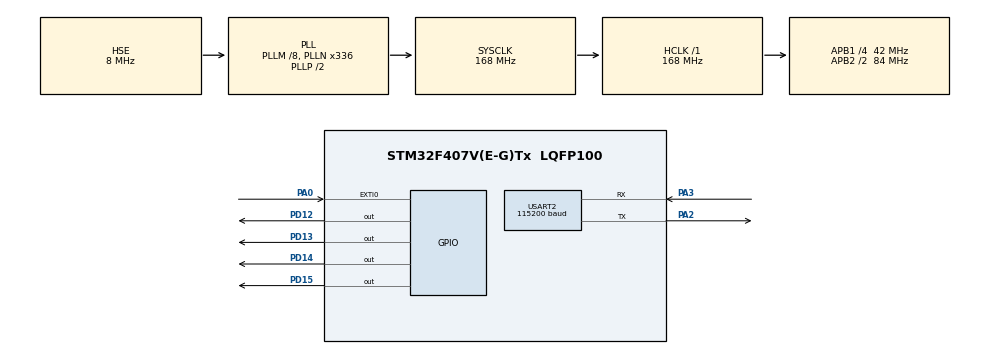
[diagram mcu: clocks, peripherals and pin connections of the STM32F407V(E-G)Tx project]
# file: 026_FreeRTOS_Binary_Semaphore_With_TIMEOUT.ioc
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FREERTOS.Tasks01=defaultTask,24,128,StartDefaultTask,Default,NULL,Dynamic,NULL,NULL
FREERTOS.configUSE_NEWLIB_REENTRANT=1
Mcu.Family=STM32F4
Mcu.Name=STM32F407V(E-G)Tx
Mcu.Package=LQFP100
NVIC.EXTI0_IRQn=true\:5\:0\:false\:false\:true\:true\:true\:true\:true
NVIC.PriorityGroup=NVIC_PRIORITYGROUP_4
NVIC.TIM8_TRG_COM_TIM14_IRQn=true\:15\:0\:false\:false\:true\:false\:false\:true\:true
NVIC.TimeBase=TIM8_TRG_COM_TIM14_IRQn
NVIC.TimeBaseIP=TIM14
NVIC.USART2_IRQn=true\:5\:0\:false\:false\:true\:true\:true\:true\:true
PA0-WKUP.Signal=GPXTI0
PA2.Mode=Asynchronous
PA2.Signal=USART2_TX
PA3.Mode=Asynchronous
PA3.Signal=USART2_RX
PD12.Signal=GPIO_Output
PD13.Signal=GPIO_Output
PD14.Signal=GPIO_Output
PD15.Signal=GPIO_Output
PH0-OSC_IN.Mode=HSE-External-Oscillator
PH0-OSC_IN.Signal=RCC_OSC_IN
PH1-OSC_OUT.Mode=HSE-External-Oscillator
PH1-OSC_OUT.Signal=RCC_OSC_OUT
ProjectManager.HeapSize=0x200
ProjectManager.StackSize=0x400
ProjectManager.TargetToolchain=STM32CubeIDE
RCC.48MHZClocksFreq_Value=48000000
RCC.AHBFreq_Value=168000000
RCC.APB1CLKDivider=RCC_HCLK_DIV4
RCC.APB1Freq_Value=42000000
RCC.APB1TimFreq_Value=84000000
RCC.APB2CLKDivider=RCC_HCLK_DIV2
RCC.APB2Freq_Value=84000000
RCC.APB2TimFreq_Value=168000000
RCC.CortexFreq_Value=168000000
RCC.HCLKFreq_Value=168000000
RCC.HSE_VALUE=8000000
RCC.HSI_VALUE=16000000
RCC.LSE_VALUE=32768
RCC.PLLM=8
RCC.PLLN=336
RCC.PLLQ=7
RCC.PLLSourceVirtual=RCC_PLLSOURCE_HSE
RCC.SYSCLKFreq_VALUE=168000000
RCC.SYSCLKSource=RCC_SYSCLKSOURCE_PLLCLK
RCC.VCOOutputFreq_Value=336000000
USART2.BaudRate=115200
USART2.VirtualMode=VM_ASYNC
VP_FREERTOS_VS_CMSIS_V2.Mode=CMSIS_V2
VP_SYS_VS_tim14.Mode=TIM14
board=STM32F407G-DISC1

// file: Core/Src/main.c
/* USER CODE BEGIN Header */
/**
  ******************************************************************************
  * @file           : main.c
  * @brief          : Main program body
  ******************************************************************************
  * @attention
  *
  * Copyright (c) 2023 STMicroelectronics.
  * All rights reserved.
  *
  * This software is licensed under terms that can be found in the LICENSE file
  * in the root directory of this software component.
  * If no LICENSE file comes with this software, it is provided AS-IS.
  *
  ******************************************************************************
  */
/* USER CODE END Header */
#include "main.h"

/* USER CODE BEGIN Includes */
#include "FreeRTOS.h"
#include "task.h"
#include "semphr.h"
#include <string.h>
#include <stdio.h>
/* USER CODE END Includes */

UART_HandleTypeDef huart2;

/* Definitions for defaultTask */
/* USER CODE BEGIN PV */
SemaphoreHandle_t xBinarySemaphore = NULL;
/* USER CODE END PV */

void SystemClock_Config(void);
static void MX_GPIO_Init(void);
static void MX_USART2_UART_Init(void);

/* USER CODE BEGIN 0 */
void HAL_GPIO_EXTI_Callback(uint16_t GPIO_Pin)
{
  if(GPIO_Pin == GPIO_PIN_0)
  {
	  BaseType_t xHigherPriorityTaskWoken = pdFALSE;

	  xSemaphoreGiveFromISR(xBinarySemaphore, &xHigherPriorityTaskWoken);
	  portYIELD_FROM_ISR(xHigherPriorityTaskWoken);
  }
}
void vButtonHandlerTask(void *pvParameters)
{
	const char *msg = "Button was pressed!\r\n";
	const TickType_t xMaxExpectedBlockTime = pdMS_TO_TICKS(5000);
	const char *errmsg = "Press Press the Button. Been 5 second since last press\r\n";
	for(;;)
	{
		if(xSemaphoreTake(xBinarySemaphore, xMaxExpectedBlockTime) == pdFAIL)
			HAL_UART_Transmit(&huart2, (uint8_t*)errmsg, strlen(errmsg), HAL_MAX_DELAY);
		else
			HAL_UART_Transmit(&huart2, (uint8_t*)msg, strlen(msg), HAL_MAX_DELAY);

	}
}
/* USER CODE END 0 */

int main(void)
{

  /* MCU Configuration--------------------------------------------------------*/

  /* Reset of all peripherals, Initializes the Flash interface and the Systick. */
  HAL_Init();

  /* Configure the system clock */
  SystemClock_Config();

  /* Initialize all configured peripherals */
  MX_GPIO_Init();
  MX_USART2_UART_Init();
  /* USER CODE BEGIN 2 */
  xBinarySemaphore = xSemaphoreCreateBinary();
  xTaskCreate(vButtonHandlerTask,"Handler", configMINIMAL_STACK_SIZE, NULL, 1,NULL);
  vTaskStartScheduler();
  /* USER CODE END 2 */

  /* Init scheduler */

  /* Create the thread(s) */
  /* creation of defaultTask */

  /* Start scheduler */

  /* We should never get here as control is now taken by the scheduler */
  /* Infinite loop */
  while (1)
  {

  }
}

void SystemClock_Config(void)
{
  RCC_OscInitTypeDef RCC_OscInitStruct = {0};
  RCC_ClkInitTypeDef RCC_ClkInitStruct = {0};

  /** Configure the main internal regulator output voltage
  */
  __HAL_RCC_PWR_CLK_ENABLE();
  __HAL_PWR_VOLTAGESCALING_CONFIG(PWR_REGULATOR_VOLTAGE_SCALE1);

  /** Initializes the RCC Oscillators according to the specified parameters
  * in the RCC_OscInitTypeDef structure.
  */
  RCC_OscInitStruct.OscillatorType = RCC_OSCILLATORTYPE_HSE;
  RCC_OscInitStruct.HSEState = RCC_HSE_ON;
  RCC_OscInitStruct.PLL.PLLState = RCC_PLL_ON;
  RCC_OscInitStruct.PLL.PLLSource = RCC_PLLSOURCE_HSE;
  RCC_OscInitStruct.PLL.PLLM = 8;
  RCC_OscInitStruct.PLL.PLLN = 336;
  RCC_OscInitStruct.PLL.PLLP = RCC_PLLP_DIV2;
  RCC_OscInitStruct.PLL.PLLQ = 7;
  if (HAL_RCC_OscConfig(&RCC_OscInitStruct) != HAL_OK)
  {
    Error_Handler();
  }

  /** Initializes the CPU, AHB and APB buses clocks
  */
  RCC_ClkInitStruct.ClockType = RCC_CLOCKTYPE_HCLK|RCC_CLOCKTYPE_SYSCLK
                              |RCC_CLOCKTYPE_PCLK1|RCC_CLOCKTYPE_PCLK2;
  RCC_ClkInitStruct.SYSCLKSource = RCC_SYSCLKSOURCE_PLLCLK;
  RCC_ClkInitStruct.AHBCLKDivider = RCC_SYSCLK_DIV1;
  RCC_ClkInitStruct.APB1CLKDivider = RCC_HCLK_DIV4;
  RCC_ClkInitStruct.APB2CLKDivider = RCC_HCLK_DIV2;

  if (HAL_RCC_ClockConfig(&RCC_ClkInitStruct, FLASH_LATENCY_5) != HAL_OK)
  {
    Error_Handler();
  }
}

static void MX_USART2_UART_Init(void)
{

  huart2.Instance = USART2;
  huart2.Init.BaudRate = 115200;
  huart2.Init.WordLength = UART_WORDLENGTH_8B;
  huart2.Init.StopBits = UART_STOPBITS_1;
  huart2.Init.Parity = UART_PARITY_NONE;
  huart2.Init.Mode = UART_MODE_TX_RX;
  huart2.Init.HwFlowCtl = UART_HWCONTROL_NONE;
  huart2.Init.OverSampling = UART_OVERSAMPLING_16;
  if (HAL_UART_Init(&huart2) != HAL_OK)
  {
    Error_Handler();
  }

}

static void MX_GPIO_Init(void)
{
  GPIO_InitTypeDef GPIO_InitStruct = {0};

  /* GPIO Ports Clock Enable */
  __HAL_RCC_GPIOH_CLK_ENABLE();
  __HAL_RCC_GPIOA_CLK_ENABLE();
  __HAL_RCC_GPIOD_CLK_ENABLE();

  /*Configure GPIO pin Output Level */
  HAL_GPIO_WritePin(GPIOD, GPIO_PIN_12|GPIO_PIN_13|GPIO_PIN_14|GPIO_PIN_15, GPIO_PIN_RESET);

  /*Configure GPIO pin : PA0 */
  GPIO_InitStruct.Pin = GPIO_PIN_0;
  GPIO_InitStruct.Mode = GPIO_MODE_IT_RISING;
  GPIO_InitStruct.Pull = GPIO_NOPULL;
  HAL_GPIO_Init(GPIOA, &GPIO_InitStruct);

  /*Configure GPIO pins : PD12 PD13 PD14 PD15 */
  GPIO_InitStruct.Pin = GPIO_PIN_12|GPIO_PIN_13|GPIO_PIN_14|GPIO_PIN_15;
  GPIO_InitStruct.Mode = GPIO_MODE_OUTPUT_PP;
  GPIO_InitStruct.Pull = GPIO_NOPULL;
  GPIO_InitStruct.Speed = GPIO_SPEED_FREQ_LOW;
  HAL_GPIO_Init(GPIOD, &GPIO_InitStruct);

  /* EXTI interrupt init*/
  HAL_NVIC_SetPriority(EXTI0_IRQn, 5, 0);
  HAL_NVIC_EnableIRQ(EXTI0_IRQn);

}

void HAL_TIM_PeriodElapsedCallback(TIM_HandleTypeDef *htim)
{
  if (htim->Instance == TIM14) {
    HAL_IncTick();
  }
}

void Error_Handler(void)
{
  __disable_irq();
  while (1)
  {
  }
}
